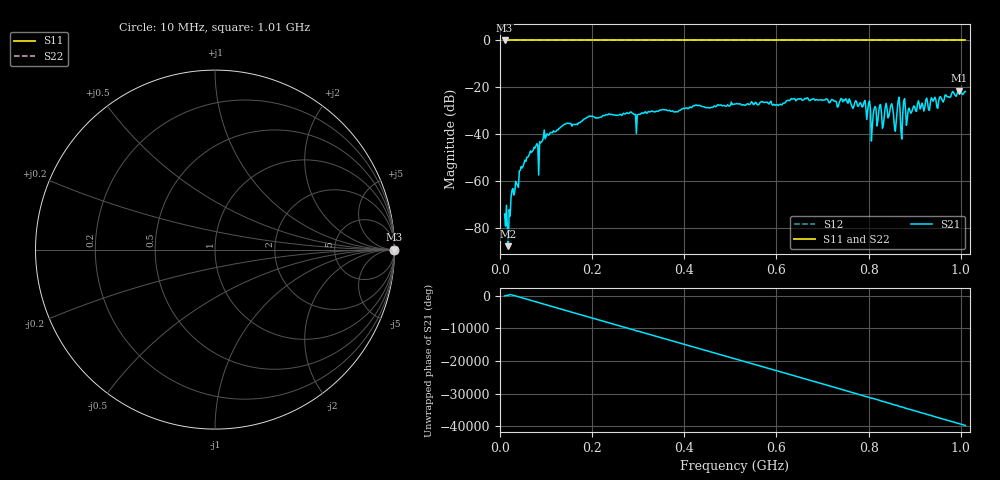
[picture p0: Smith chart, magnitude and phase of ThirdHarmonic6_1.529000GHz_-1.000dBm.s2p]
! 8/16/2025 6:05:26 PM
! C:\ANRITSUVNA\TEMP\TEMP.S2P
! CHANNEL.1
! TR.MEASUREMENT
! RAW.DATA
! RF.CORRECTION.OFF
! AVERAGING.OFF
! IF.BANDWIDTH: 5KHZ
! SWEEPTYPE:  FREQ.SWEEP(Linear)
! Reference Plane Port Info
! PORT:  PORT1  PORT2
! DISTANCE:  0  m  0  m
! TIME:  0  s  0  s
! PHASE.OFFSET:  0  deg.  0  deg.
! LOSS:  0  dB  0  dB
! REF.LOSS:  0  dB  0  dB
! REF.FREQ:  0  Hz  0  Hz
! Power Info
! POWER:  -20  dBm  -20  dBm
! EFF.POWER:  -20  dBm  -20  dBm
! SOURCE.ATTEN:  0  dB  0  dB
! TEST.ATTEN:  0  dB  0  dB
# GHZ S RI R 50.0
! FREQ.GHZ  S11RE  S11IM  S21RE  S21IM  S12RE  S12IM  S22RE  S22IM
!; PortSelection: Port_12
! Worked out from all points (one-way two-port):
!   501 points, 10 MHz to 1.01 GHz, reference 50 ohm
!   highest |S21| = -21.43 dB at 996 MHz (marker M1); lowest = -87.7 dB at 18 MHz (marker M2)
!   lowest |S11| = 0.0 dB at 10 MHz (marker M3)
!   |S11| at or under -10 dB: nowhere
!   |S22| runs from 0.0 to 0.0 dB; largest |S21 - S12| = 1.1
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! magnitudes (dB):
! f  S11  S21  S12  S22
! 10 MHz  0.0  -73.9  0.0  0.0
! 18 MHz  0.0  -87.7  0.0  0.0
! 30 MHz  0.0  -65.9  0.0  0.0
! 62 MHz  0.0  -49.2  0.0  0.0
! 88 MHz  0.0  -43.6  0.0  0.0
! 100 MHz  0.0  -40.8  0.0  0.0
! 178 MHz  0.0  -34.3  0.0  0.0
! 344 MHz  0.0  -30.1  0.0  0.0
! 510 MHz  0.0  -27.1  0.0  0.0
! 678 MHz  0.0  -25.1  0.0  0.0
! 788 MHz  0.0  -27.9  0.0  0.0
! 808 MHz  0.0  -36.3  0.0  0.0
! 812 MHz  0.0  -29.1  0.0  0.0
! 844 MHz  0.0  -32.3  0.0  0.0
! 850 MHz  0.0  -27.0  0.0  0.0
! 858 MHz  0.0  -38.7  0.0  0.0
! 864 MHz  0.0  -25.8  0.0  0.0
! 872 MHz  0.0  -42.0  0.0  0.0
! 878 MHz  0.0  -24.8  0.0  0.0
! 886 MHz  0.0  -29.4  0.0  0.0
! 996 MHz  0.0  -21.4  0.0  0.0
! 1.01 GHz  0.0  -21.8  0.0  0.0
